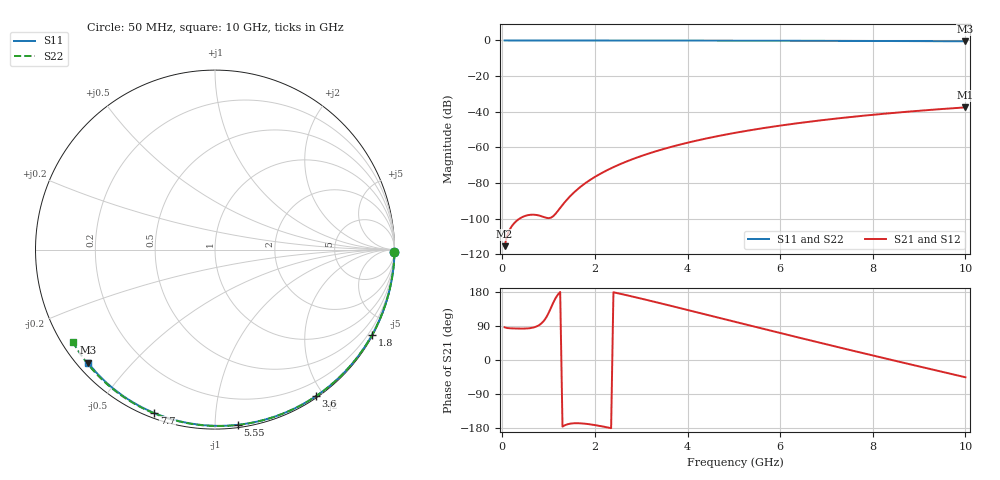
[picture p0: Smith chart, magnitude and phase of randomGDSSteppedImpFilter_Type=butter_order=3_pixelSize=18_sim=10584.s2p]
! freq	dB(S11)	phase(S11)	dB(S12)	phase(S12)
!  dB(S21)	phase(S21)	dB(S22)	phase(S22)
!S-par simulation data
#  GHz  S  DB  R 50
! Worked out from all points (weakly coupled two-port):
!   200 points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, 50 MHz to 10 GHz, reference 50 ohm
!   highest |S21| = -37.57 dB at 10 GHz (marker M1); lowest = -115.5 dB at 50 MHz (marker M2)
!   lowest |S11| = -0.5 dB at 10 GHz (marker M3), VSWR 37.07, Z = 1.54 - j19 ohm
!   |S11| at or under -10 dB: nowhere
!   |S22| runs from -0.5 to 0.0 dB; largest |S21 - S12| = 0
!   S11 on the Smith chart (normalised r, x): 50 MHz: open; 1.8 GHz: 0.03, -3.96; 3.6 GHz: 0.02, -1.90; 5.55 GHz: 0.02, -1.14; 7.7 GHz: 0.02, -0.70; 10 GHz: 0.03, -0.38
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0.05  -0.00 -0.8  -115.49 86.3  -115.49 86.3  -0.00 -0.9
0.45  -0.01 -7.2  -98.95 82.9  -98.95 82.9  -0.01 -7.7
0.9  -0.02 -14.3  -99.16 103.6  -99.16 103.6  -0.02 -15.3
1.3  -0.03 -20.6  -92.35 -175.7  -92.35 -175.7  -0.03 -22.0
1.75  -0.04 -27.6  -80.95 -167.7  -80.95 -167.7  -0.04 -29.4
1.8  -0.04 -28.4  -80.00 -168.3  -80.00 -168.3  -0.04 -30.3
1.95  -0.04 -30.7  -77.40 -170.8  -77.40 -170.8  -0.04 -32.7
2.1  -0.04 -33.0  -75.10 -173.9  -75.10 -173.9  -0.04 -35.2
2.3  -0.05 -36.0  -72.36 -178.7  -72.36 -178.7  -0.05 -38.4
2.5  -0.05 -39.1  -69.95 176.1  -69.95 176.1  -0.05 -41.6
2.9  -0.06 -45.1  -65.81 164.9  -65.81 164.9  -0.06 -48.0
3.4  -0.07 -52.5  -61.56 150.2  -61.56 150.2  -0.07 -55.9
3.6  -0.07 -55.4  -60.08 144.2  -60.08 144.2  -0.08 -59.0
4.3  -0.09 -65.4  -55.62 122.9  -55.62 122.9  -0.10 -69.6
5.05  -0.12 -75.9  -51.75 100.1  -51.75 100.1  -0.12 -80.6
5.55  -0.14 -82.7  -49.56 84.9  -49.56 84.9  -0.14 -87.8
6.1  -0.16 -90.0  -47.44 68.2  -47.44 68.2  -0.17 -95.5
6.7  -0.19 -97.7  -45.40 50.3  -45.40 50.3  -0.20 -103.7
7.7  -0.25 -110.3  -42.50 20.7  -42.50 20.7  -0.27 -117.0
8.35  -0.30 -118.3  -40.90 1.8  -40.90 1.8  -0.32 -125.5
9.2  -0.38 -128.7  -39.06 -22.7  -39.06 -22.7  -0.40 -136.5
10  -0.47 -138.3  -37.57 -45.5  -37.57 -45.5  -0.49 -146.8
